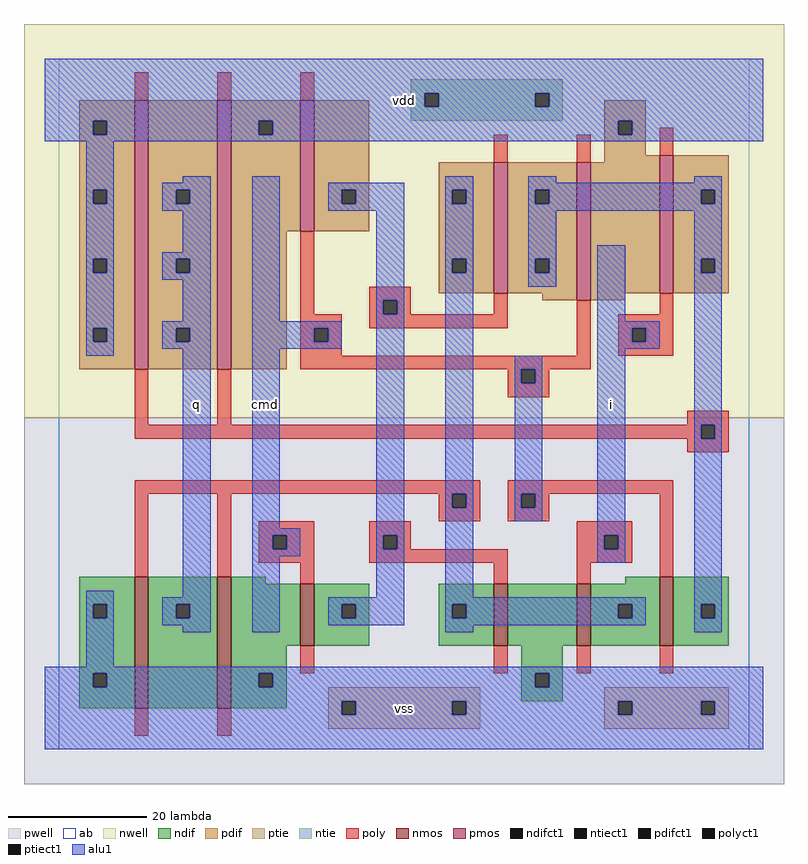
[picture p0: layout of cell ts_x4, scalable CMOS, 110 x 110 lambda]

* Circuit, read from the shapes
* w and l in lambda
.subckt ts_x4 cmd i q vdd vss
M1 q n1 vss vss nfet w=19 l=2 m=2
M2 n2 cmd vss vss nfet w=9 l=2
M3 vss n2 n1 vss nfet w=9 l=2
M4 n1 i vss vss nfet w=9 l=2
M5 n3 cmd n1 vss nfet w=10 l=2
M6 q n3 vdd vdd pfet w=39 l=2 m=2
M7 n2 cmd vdd vdd pfet w=19 l=2
M8 n3 n2 n1 vdd pfet w=19 l=2
M9 vdd cmd n3 vdd pfet w=20 l=2
M10 n3 i vdd vdd pfet w=20 l=2
.ends

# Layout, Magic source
magic
tech scmos
<< ab >>
rect 0 0 100 100
<< nwell >>
rect -5 48 105 105
<< pwell >>
rect -5 -5 105 48
<< poly >>
rect 11 94 13 98
rect 23 94 25 98
rect 35 94 37 98
rect 63 85 65 89
rect 75 85 77 89
rect 87 86 89 90
rect 35 63 37 75
rect 45 65 51 67
rect 45 63 47 65
rect 49 63 51 65
rect 63 63 65 66
rect 35 61 41 63
rect 45 61 65 63
rect 35 59 37 61
rect 39 59 41 61
rect 35 57 41 59
rect 75 57 77 65
rect 87 63 89 66
rect 81 61 89 63
rect 81 59 83 61
rect 85 59 89 61
rect 81 57 89 59
rect 35 55 77 57
rect 11 47 13 55
rect 23 47 25 55
rect 65 53 67 55
rect 69 53 71 55
rect 65 51 71 53
rect 91 47 97 49
rect 11 45 93 47
rect 95 45 97 47
rect 91 43 97 45
rect 11 37 61 39
rect 11 25 13 37
rect 23 25 25 37
rect 55 35 57 37
rect 59 35 61 37
rect 55 33 61 35
rect 65 37 89 39
rect 65 35 67 37
rect 69 35 71 37
rect 65 33 71 35
rect 29 31 37 33
rect 29 29 31 31
rect 33 29 37 31
rect 29 27 37 29
rect 45 31 51 33
rect 45 29 47 31
rect 49 29 51 31
rect 75 31 83 33
rect 75 29 79 31
rect 81 29 83 31
rect 45 27 65 29
rect 35 24 37 27
rect 63 24 65 27
rect 75 27 83 29
rect 75 24 77 27
rect 87 25 89 37
rect 35 11 37 15
rect 63 11 65 15
rect 75 11 77 15
rect 87 11 89 15
rect 11 2 13 6
rect 23 2 25 6
<< ndif >>
rect 3 21 11 25
rect 3 19 5 21
rect 7 19 11 21
rect 3 11 11 19
rect 3 9 5 11
rect 7 9 11 11
rect 3 6 11 9
rect 13 21 23 25
rect 13 19 17 21
rect 19 19 23 21
rect 13 6 23 19
rect 25 24 30 25
rect 82 24 87 25
rect 25 15 35 24
rect 37 21 45 24
rect 37 19 41 21
rect 43 19 45 21
rect 37 15 45 19
rect 55 21 63 24
rect 55 19 57 21
rect 59 19 63 21
rect 55 15 63 19
rect 65 15 75 24
rect 77 21 87 24
rect 77 19 81 21
rect 83 19 87 21
rect 77 15 87 19
rect 89 21 97 25
rect 89 19 93 21
rect 95 19 97 21
rect 89 15 97 19
rect 25 11 33 15
rect 67 11 73 15
rect 25 9 29 11
rect 31 9 33 11
rect 67 9 69 11
rect 71 9 73 11
rect 25 6 33 9
rect 67 7 73 9
<< pdif >>
rect 3 91 11 94
rect 3 89 5 91
rect 7 89 11 91
rect 3 81 11 89
rect 3 79 5 81
rect 7 79 11 81
rect 3 71 11 79
rect 3 69 5 71
rect 7 69 11 71
rect 3 61 11 69
rect 3 59 5 61
rect 7 59 11 61
rect 3 55 11 59
rect 13 81 23 94
rect 13 79 17 81
rect 19 79 23 81
rect 13 71 23 79
rect 13 69 17 71
rect 19 69 23 71
rect 13 61 23 69
rect 13 59 17 61
rect 19 59 23 61
rect 13 55 23 59
rect 25 91 35 94
rect 25 89 29 91
rect 31 89 35 91
rect 25 75 35 89
rect 37 81 45 94
rect 79 91 85 94
rect 79 89 81 91
rect 83 89 85 91
rect 79 86 85 89
rect 79 85 87 86
rect 37 79 41 81
rect 43 79 45 81
rect 37 75 45 79
rect 55 81 63 85
rect 55 79 57 81
rect 59 79 63 81
rect 25 55 33 75
rect 55 71 63 79
rect 55 69 57 71
rect 59 69 63 71
rect 55 66 63 69
rect 65 81 75 85
rect 65 79 69 81
rect 71 79 75 81
rect 65 71 75 79
rect 65 69 69 71
rect 71 69 75 71
rect 65 66 75 69
rect 70 65 75 66
rect 77 66 87 85
rect 89 81 97 86
rect 89 79 93 81
rect 95 79 97 81
rect 89 71 97 79
rect 89 69 93 71
rect 95 69 97 71
rect 89 66 97 69
rect 77 65 82 66
<< alu1 >>
rect -2 95 102 100
rect -2 93 53 95
rect 55 93 69 95
rect 71 93 102 95
rect -2 91 102 93
rect -2 89 5 91
rect 7 89 29 91
rect 31 89 81 91
rect 83 89 102 91
rect -2 88 102 89
rect 4 81 8 88
rect 18 82 22 83
rect 4 79 5 81
rect 7 79 8 81
rect 4 71 8 79
rect 15 81 22 82
rect 15 79 17 81
rect 19 79 22 81
rect 15 78 22 79
rect 18 72 22 78
rect 4 69 5 71
rect 7 69 8 71
rect 4 61 8 69
rect 15 71 22 72
rect 15 69 17 71
rect 19 69 22 71
rect 15 68 22 69
rect 18 62 22 68
rect 4 59 5 61
rect 7 59 8 61
rect 4 57 8 59
rect 15 61 22 62
rect 15 59 17 61
rect 19 59 22 61
rect 15 58 22 59
rect 4 21 8 23
rect 18 22 22 58
rect 4 19 5 21
rect 7 19 8 21
rect 4 12 8 19
rect 15 21 22 22
rect 15 19 17 21
rect 19 19 22 21
rect 15 18 22 19
rect 18 17 22 18
rect 28 62 32 83
rect 39 81 50 82
rect 39 79 41 81
rect 43 79 50 81
rect 39 78 50 79
rect 46 65 50 78
rect 46 63 47 65
rect 49 63 50 65
rect 28 61 41 62
rect 28 59 37 61
rect 39 59 41 61
rect 28 58 41 59
rect 28 32 32 58
rect 28 31 35 32
rect 28 29 31 31
rect 33 29 35 31
rect 28 28 35 29
rect 46 31 50 63
rect 46 29 47 31
rect 49 29 50 31
rect 28 17 32 28
rect 46 22 50 29
rect 39 21 50 22
rect 39 19 41 21
rect 43 19 50 21
rect 39 18 50 19
rect 56 81 60 83
rect 56 79 57 81
rect 59 79 60 81
rect 56 71 60 79
rect 56 69 57 71
rect 59 69 60 71
rect 56 37 60 69
rect 68 82 72 83
rect 92 82 96 83
rect 68 81 96 82
rect 68 79 69 81
rect 71 79 93 81
rect 95 79 96 81
rect 68 78 96 79
rect 68 71 72 78
rect 68 69 69 71
rect 71 69 72 71
rect 68 67 72 69
rect 78 62 82 73
rect 92 71 96 78
rect 92 69 93 71
rect 95 69 96 71
rect 78 61 87 62
rect 78 59 83 61
rect 85 59 87 61
rect 78 58 87 59
rect 56 35 57 37
rect 59 35 60 37
rect 56 22 60 35
rect 66 55 70 57
rect 66 53 67 55
rect 69 53 70 55
rect 66 37 70 53
rect 66 35 67 37
rect 69 35 70 37
rect 66 33 70 35
rect 78 31 82 58
rect 78 29 79 31
rect 81 29 82 31
rect 78 27 82 29
rect 92 47 96 69
rect 92 45 93 47
rect 95 45 96 47
rect 56 21 85 22
rect 56 19 57 21
rect 59 19 81 21
rect 83 19 85 21
rect 56 18 85 19
rect 92 21 96 45
rect 92 19 93 21
rect 95 19 96 21
rect 56 17 60 18
rect 92 17 96 19
rect -2 11 102 12
rect -2 9 5 11
rect 7 9 29 11
rect 31 9 69 11
rect 71 9 102 11
rect -2 7 102 9
rect -2 5 41 7
rect 43 5 57 7
rect 59 5 81 7
rect 83 5 93 7
rect 95 5 102 7
rect -2 0 102 5
<< ptie >>
rect 39 7 61 9
rect 79 7 97 9
rect 39 5 41 7
rect 43 5 57 7
rect 59 5 61 7
rect 39 3 61 5
rect 79 5 81 7
rect 83 5 93 7
rect 95 5 97 7
rect 79 3 97 5
<< ntie >>
rect 51 95 73 97
rect 51 93 53 95
rect 55 93 69 95
rect 71 93 73 95
rect 51 91 73 93
<< nmos >>
rect 11 6 13 25
rect 23 6 25 25
rect 35 15 37 24
rect 63 15 65 24
rect 75 15 77 24
rect 87 15 89 25
<< pmos >>
rect 11 55 13 94
rect 23 55 25 94
rect 35 75 37 94
rect 63 66 65 85
rect 75 65 77 85
rect 87 66 89 86
<< polyct1 >>
rect 47 63 49 65
rect 37 59 39 61
rect 83 59 85 61
rect 67 53 69 55
rect 93 45 95 47
rect 57 35 59 37
rect 67 35 69 37
rect 31 29 33 31
rect 47 29 49 31
rect 79 29 81 31
<< ndifct1 >>
rect 5 19 7 21
rect 5 9 7 11
rect 17 19 19 21
rect 41 19 43 21
rect 57 19 59 21
rect 81 19 83 21
rect 93 19 95 21
rect 29 9 31 11
rect 69 9 71 11
<< ntiect1 >>
rect 53 93 55 95
rect 69 93 71 95
<< ptiect1 >>
rect 41 5 43 7
rect 57 5 59 7
rect 81 5 83 7
rect 93 5 95 7
<< pdifct1 >>
rect 5 89 7 91
rect 5 79 7 81
rect 5 69 7 71
rect 5 59 7 61
rect 17 79 19 81
rect 17 69 19 71
rect 17 59 19 61
rect 29 89 31 91
rect 81 89 83 91
rect 41 79 43 81
rect 57 79 59 81
rect 57 69 59 71
rect 69 79 71 81
rect 69 69 71 71
rect 93 79 95 81
rect 93 69 95 71
<< labels >>
rlabel alu1 20 50 20 50 6 q
rlabel alu1 30 50 30 50 6 cmd
rlabel alu1 50 6 50 6 6 vss
rlabel alu1 50 94 50 94 6 vdd
rlabel alu1 80 50 80 50 6 i
<< end >>
